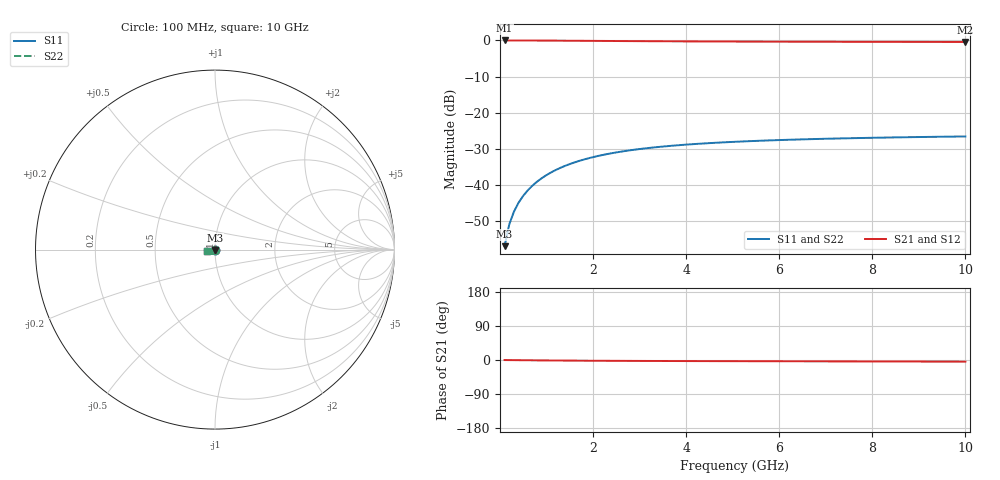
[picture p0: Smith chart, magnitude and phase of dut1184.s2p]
! Touchstone file exported from HFSS 2024.1.0
!  File:  C:/UserFiles/LocalFiles/RDL_TSV_Batchsim/temp_TSV1_1184_1780075140.aedt
!  Generated:  01:22:33 AM May 30, 2026
!  Design:  TSV1
!  Project:  temp_TSV1_1184_1780075140
!  Setup:  Setup1
!  Solution:  Sweep
! Variables:
!  dtsv = 14.48um
!  hbump = 3um
!  htsv = 63.93um
!  lrdl = 252.1521522um
!  p = 40
!  p1 = 53.98um
!  t = 500um
!  trdl = 3um
!  wrdl = 24.89489489um
# GHz S MA R 50.000000
! Terminal data exported
! Port[1] = TSV22_T1
! Port[2] = TSV22_T2
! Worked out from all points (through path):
!   100 points, 100 MHz to 10 GHz, reference 50 ohm
!   highest |S21| = 0.00 dB at 100 MHz (marker M1); lowest = -0.4 dB at 10 GHz (marker M2)
!   lowest |S11| = -56.8 dB at 100 MHz (marker M3), VSWR 1.00, Z = 50 - j0.144 ohm
!   |S11| at or under -10 dB: start of sweep to end of sweep
!   |S22| runs from -56.8 to -26.5 dB; largest |S21 - S12| = 5.6e-15
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0.1  0.00144 -89.0  0.9999 -0.1  0.9999 -0.1  0.00144 -89.0
! Gamma 0 0 0 0
! Port Impedance 50 0 50 0
0.2  0.002879 -92.1  0.9997 -0.2  0.9997 -0.2  0.002879 -92.1
0.3  0.004315 -94.4  0.9995 -0.4  0.9995 -0.4  0.004315 -94.4
0.4  0.005741 -96.5  0.9991 -0.5  0.9991 -0.5  0.005741 -96.5
0.5  0.007152 -98.4  0.9987 -0.6  0.9987 -0.6  0.007152 -98.4
0.6  0.008542 -100.4  0.9982 -0.7  0.9982 -0.7  0.008542 -100.4
0.7  0.009906 -102.3  0.9976 -0.8  0.9976 -0.8  0.009906 -102.3
0.8  0.01124 -104.1  0.997 -0.9  0.997 -0.9  0.01124 -104.1
0.9  0.01255 -105.9  0.9963 -1.0  0.9963 -1.0  0.01255 -105.9
1.1  0.01505 -109.3  0.9948 -1.2  0.9948 -1.2  0.01505 -109.3
1.4  0.01853 -114.2  0.9922 -1.5  0.9922 -1.5  0.01853 -114.2
1.6  0.02066 -117.3  0.9904 -1.7  0.9904 -1.7  0.02066 -117.3
1.8  0.02263 -120.1  0.9885 -1.8  0.9885 -1.8  0.02263 -120.1
2.1  0.02531 -124.1  0.9857 -2.0  0.9857 -2.0  0.02531 -124.1
2.5  0.0284 -128.9  0.9821 -2.2  0.9821 -2.2  0.0284 -128.9
2.9  0.03102 -133.2  0.9787 -2.4  0.9787 -2.4  0.03102 -133.2
3.4  0.03374 -137.8  0.975 -2.6  0.975 -2.6  0.03374 -137.8
4.2  0.03713 -144.0  0.9699 -2.9  0.9699 -2.9  0.03713 -144.0
5.1  0.03995 -149.6  0.9654 -3.1  0.9654 -3.1  0.03995 -149.6
6.7  0.04337 -157.3  0.9597 -3.5  0.9597 -3.5  0.04337 -157.3
8.4  0.0457 -163.6  0.9557 -3.9  0.9557 -3.9  0.0457 -163.6
10  0.0472 -168.3  0.9531 -4.3  0.9531 -4.3  0.0472 -168.3
